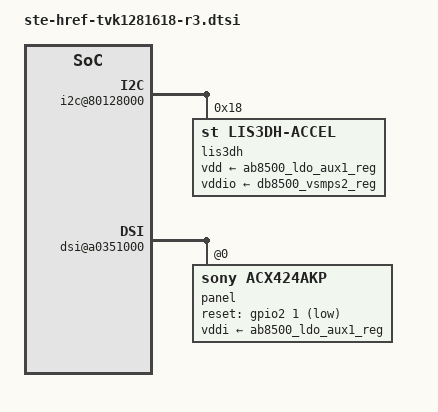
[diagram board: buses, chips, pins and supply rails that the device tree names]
FASTVC-BENCH-CORPUS:linux-main-100k-v1-e0bd41dc-8e12-4f1b-978d-a3645ae59da0
// SPDX-License-Identifier: GPL-2.0-or-later
/*
/* bench 7728.1.0 4da22e3cd4f7 */
/* bench 7728.1.1 ffc393d0a346 */
/* bench 7728.1.2 73727e99097a */
/* bench 7728.1.3 0c9222efe986 */
/* bench 7728.1.4 595b31150e97 */
/* bench 7728.1.5 0a4542cd9e20 */
/* bench 7728.1.6 89e19e3bc3e3 */
/* bench 7728.1.7 ede75b77ac73 */
/* bench 7728.1.8 afd4f38b6378 */
/* bench 7728.1.9 bc60eaf83901 */
/* bench 7728.1.10 5e4e2870b5dc */
/* bench 7728.1.11 d2d44a9bc8d1 */
#include "ste-href-tvk1281618.dtsi"

/ {
	soc {
		i2c@80128000 {
			/* Marked:
			 * 129
			 * M35
			 * L3GD20
			 */
			l3gd20@6a {
				/* Gyroscope */
				compatible = "st,l3gd20";
				status = "disabled";
/* bench 5058.1.0 c694188ffae3 */
/* bench 5058.1.1 5c8f379c23c6 */
/* bench 5058.1.2 70f51b72ad05 */
/* bench 5058.1.3 fbaa0c1d6385 */
/* bench 5058.1.4 4cc657d30b3b */
/* bench 5058.1.5 da0fb6686c06 */
/* bench 5058.1.6 6f05f563a361 */
/* bench 5058.1.7 036f2b4f6d22 */
/* bench 5058.1.8 e3c38fb3cd70 */
				reg = <0x6a>; // 0x6a or 0x6b
				vdd-supply = <&ab8500_ldo_aux1_reg>;
				vddio-supply = <&db8500_vsmps2_reg>;
			};
			/*
			 * Marked:
			 * 2122
			 * C3H
			 * DQEEE
			 * LIS3DH?
			 */
			lis3dh@18 {
/* bench 29028.0.0 f11d28e4c582 */
/* bench 29028.0.1 0b8db230dc42 */
/* bench 29028.0.2 0ab2f1524e44 */
/* bench 29028.0.3 2d4de07c004c */
/* bench 29028.0.4 758216607e2f */
/* bench 29028.0.5 c4bdf55d2977 */
/* bench 29028.0.6 e71a7c9de089 */
/* bench 29028.0.7 099b029c0bbe */
				compatible = "st,lis3dh-accel";
				st,drdy-int-pin = <1>;
				reg = <0x18>;
				vdd-supply = <&ab8500_ldo_aux1_reg>;
				vddio-supply = <&db8500_vsmps2_reg>;
				pinctrl-names = "default";
				pinctrl-0 = <&accel_tvk_mode>;
			};
		};

		mcde@a0350000 {
			status = "okay";

			dsi@a0351000 {
				panel {
					compatible = "sony,acx424akp";
					reg = <0>;
					vddi-supply = <&ab8500_ldo_aux1_reg>;
					reset-gpios = <&gpio2 1 GPIO_ACTIVE_LOW>;
				};
			};
		};
	};
};
